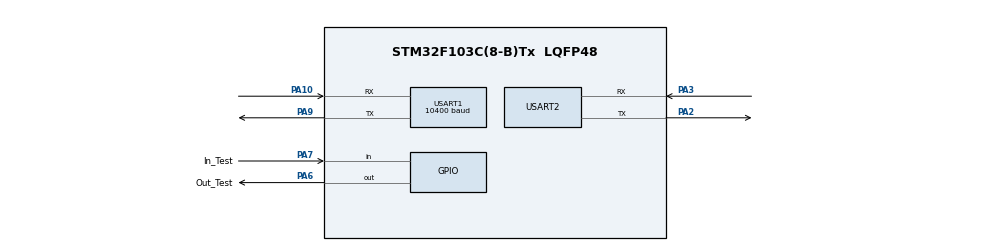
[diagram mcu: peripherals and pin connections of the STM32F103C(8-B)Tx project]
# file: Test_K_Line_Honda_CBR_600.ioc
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Mcu.Family=STM32F1
Mcu.Name=STM32F103C(8-B)Tx
Mcu.Package=LQFP48
NVIC.PriorityGroup=NVIC_PRIORITYGROUP_4
NVIC.USART2_IRQn=true\:0\:0\:false\:false\:true\:true\:true\:true
PA10.Mode=Asynchronous
PA10.Signal=USART1_RX
PA13.Mode=Serial_Wire
PA13.Signal=SYS_JTMS-SWDIO
PA14.Mode=Serial_Wire
PA14.Signal=SYS_JTCK-SWCLK
PA2.Mode=Asynchronous
PA2.Signal=USART2_TX
PA3.Mode=Asynchronous
PA3.Signal=USART2_RX
PA6.GPIO_Label=Out_Test
PA6.Signal=GPIO_Output
PA7.GPIO_Label=In_Test
PA7.Signal=GPIO_Input
PA9.Mode=Asynchronous
PA9.Signal=USART1_TX
PD0-OSC_IN.Mode=HSE-External-Oscillator
PD0-OSC_IN.Signal=RCC_OSC_IN
PD1-OSC_OUT.Mode=HSE-External-Oscillator
PD1-OSC_OUT.Signal=RCC_OSC_OUT
ProjectManager.HeapSize=0x200
ProjectManager.StackSize=0x400
ProjectManager.TargetToolchain=STM32CubeIDE
RCC.AHBFreq_Value=72000000
RCC.APB1CLKDivider=RCC_HCLK_DIV2
RCC.APB1Freq_Value=36000000
RCC.APB1TimFreq_Value=72000000
RCC.APB2Freq_Value=72000000
RCC.APB2TimFreq_Value=72000000
RCC.HCLKFreq_Value=72000000
RCC.PLLMUL=RCC_PLL_MUL9
RCC.PLLSourceVirtual=RCC_PLLSOURCE_HSE
RCC.SYSCLKFreq_VALUE=72000000
RCC.SYSCLKSource=RCC_SYSCLKSOURCE_PLLCLK
RCC.USBFreq_Value=72000000
USART1.BaudRate=10400
USART1.VirtualMode=VM_ASYNC
USART2.VirtualMode=VM_ASYNC
board=custom

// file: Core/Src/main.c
/* USER CODE BEGIN Header */
/**
  ******************************************************************************
  * @file           : main.c
  * @brief          : Main program body
  ******************************************************************************
  * @attention
  *
  * Copyright (c) 2026 STMicroelectronics.
  * All rights reserved.
  *
  * This software is licensed under terms that can be found in the LICENSE file
  * in the root directory of this software component.
  * If no LICENSE file comes with this software, it is provided AS-IS.
  *
  ******************************************************************************
  */
/* USER CODE END Header */
#include "main.h"

/* USER CODE BEGIN Includes */
#include "UART_header.h"
/* USER CODE END Includes */

/* USER CODE BEGIN PV */
volatile uint8_t usr_req = 0; //1: gear status, 2: sensor data
volatile uint32_t timeout_counter = 0;
/* USER CODE END PV */

void SystemClock_Config(void);
static void MX_GPIO_Init(void);
static void MX_USART1_UART_Init(void);
static void MX_USART2_UART_Init(void);

/* USER CODE BEGIN 0 */

#define USE_TIMEOUT
#define DEBUGING
#define DEBUGING_USART USART2

#define HDS_KLINE_STAT_RECIEVING		0
#define HDS_KLINE_STAT_SENDING 			1
#define HDS_KLINE_STAT_WORKING			2
#define HDS_KLINE_STAT_WAITING			3

//#define TRANSMIT_DISABLE_RX
#define TRANSMIT_DUMP_RX_DATA

uint8_t hds_kline_status = 0;

uint16_t hds_timeout_ms = 1;

#define HDS_KLINE_TIMEOUT_MS	2000

#define HDS_KLINE_COMMUNICATION_UART 	USART1

#define HDS_WAKE_UP_MSG_LENGTH 				4
#define HDS_INIT_MSG_LENGTH					5
#define HDS_INIT_RESPONSE_MSG_LENGTH 		4
#define HDS_REQUEST_MSG_LENGTH 				5

//These needs to be tested
#define HDS_REQUEST_STATUS_GEAR_TABLE			0xD1
#define HDS_REQUEST_STATUS_GEAR_CHECKSUM 		0x47

#define HDS_REQUEST_STATUS_GEAR_GEAR_STATUS		4
#define HDS_REQUEST_STATUS_GEAR_ENGINE_STATUS	8

#define HDS_REQUEST_SENSOR_DATA_TABLE			0x10
#define HDS_REQUEST_SENSOR_DATA_CHECKSUM 		0x08

#define HDS_REQUEST_SENSOR_DATA_RPM_HIGH		4
#define HDS_REQUEST_SENSOR_DATA_RPM_LOW			5
#define HDS_REQUEST_SENSOR_DATA_TPS_VOLTAGE		6
#define HDS_REQUEST_SENSOR_DATA_TPS_PERCENTAGE	7
#define HDS_REQUEST_SENSOR_DATA_ECT_VOLTAGE		8
#define HDS_REQUEST_SENSOR_DATA_ECT_DEGC		9
#define HDS_REQUEST_SENSOR_DATA_IAT_VOLTAGE		10
#define HDS_REQUEST_SENSOR_DATA_IAT_DEGC		11
#define HDS_REQUEST_SENSOR_DATA_MAP_VOLTAGE		12
#define HDS_REQUEST_SENSOR_DATA_MAP_KPA			13
#define HDS_REQUEST_SENSOR_DATA_BATTERY_VOLTAGE	16
#define HDS_REQUEST_SENSOR_DATA_SPEED_KM_H		17

#define HDS_BUFFER_MAX_SIZE		25

uint8_t hds_wake_up_msg[HDS_WAKE_UP_MSG_LENGTH] = { 0xFE, 0x04, 0xFF, 0xFF};
uint8_t hds_init_msg[HDS_INIT_MSG_LENGTH] = {0x72, 0x05, 0x00, 0xF0, 0x99};
uint8_t	hds_init_response_msg[HDS_INIT_RESPONSE_MSG_LENGTH] = {0x02, 0x04, 0x00, 0xFA};
uint8_t hds_request_msg[HDS_REQUEST_MSG_LENGTH] = {0x72, 0x05, 0x71, 0x10, 0x47};

uint8_t hds_buffer[HDS_BUFFER_MAX_SIZE]= {};

void HDS_KLine_init()
{
	uint8_t hds_msg_counter = 0;

#ifdef TRANSMIT_DISABLE_RX
	LL_USART_DisableDirectionRx(HDS_KLINE_COMMUNICATION_UART);
#endif
	LL_USART_Disable(HDS_KLINE_COMMUNICATION_UART);
	LL_GPIO_SetPinMode(GPIOA, LL_GPIO_PIN_9, LL_GPIO_MODE_OUTPUT);

	LL_GPIO_ResetOutputPin(GPIOA, LL_GPIO_PIN_9);
	LL_mDelay(70);

	LL_GPIO_SetOutputPin(GPIOA, LL_GPIO_PIN_9);
	LL_mDelay(120);

	LL_GPIO_SetPinMode(GPIOA, LL_GPIO_PIN_9, LL_GPIO_MODE_ALTERNATE);
	LL_USART_Enable(HDS_KLINE_COMMUNICATION_UART);

	hds_msg_counter = 0;
	SET_BIT(hds_kline_status, HDS_KLINE_STAT_SENDING);
	while(hds_msg_counter != HDS_WAKE_UP_MSG_LENGTH)
	{
		while(!LL_USART_IsActiveFlag_TXE(HDS_KLINE_COMMUNICATION_UART))
		{}
		LL_USART_TransmitData8(HDS_KLINE_COMMUNICATION_UART, hds_wake_up_msg[hds_msg_counter]);
#ifdef TRANSMIT_DUMP_RX_DATA
		while(!LL_USART_IsActiveFlag_RXNE(HDS_KLINE_COMMUNICATION_UART)){}
		uint8_t dummy = LL_USART_ReceiveData8(HDS_KLINE_COMMUNICATION_UART);
#endif
		hds_msg_counter++;
	}
	CLEAR_BIT(hds_kline_status, HDS_KLINE_STAT_SENDING);

	LL_mDelay(200);

	hds_msg_counter = 0;
	SET_BIT(hds_kline_status, HDS_KLINE_STAT_SENDING);
	while(hds_msg_counter != HDS_INIT_MSG_LENGTH)
	{
		while(!LL_USART_IsActiveFlag_TXE(HDS_KLINE_COMMUNICATION_UART))
		{}
		LL_USART_TransmitData8(HDS_KLINE_COMMUNICATION_UART, hds_init_msg[hds_msg_counter]);
#ifdef TRANSMIT_DUMP_RX_DATA
		while(!LL_USART_IsActiveFlag_RXNE(HDS_KLINE_COMMUNICATION_UART)){}
		uint8_t dummy = LL_USART_ReceiveData8(HDS_KLINE_COMMUNICATION_UART);
#endif
		hds_msg_counter++;
	}
	CLEAR_BIT(hds_kline_status, HDS_KLINE_STAT_SENDING);

#ifdef DEBUGING
	UART_TransmitStr("Waiting for the ECU to respond\n", DEBUGING_USART);
#endif

#ifdef USE_TIMEOUT
	timeout_counter = HDS_KLINE_TIMEOUT_MS;
#endif

#ifdef TRANSMIT_DISABLE_RX
	LL_USART_EnableDirectionRx(HDS_KLINE_COMMUNICATION_UART);
#endif

	SET_BIT(hds_kline_status, HDS_KLINE_STAT_RECIEVING);
	hds_msg_counter = 0;
	while(hds_msg_counter != HDS_INIT_RESPONSE_MSG_LENGTH)
	{
		while(!LL_USART_IsActiveFlag_RXNE(HDS_KLINE_COMMUNICATION_UART))
		{
#ifdef USE_TIMEOUT
			if(timeout_counter == 0)
			{
				return;
			}
#endif
		}

		hds_buffer[hds_msg_counter] = LL_USART_ReceiveData8(HDS_KLINE_COMMUNICATION_UART);
		LL_USART_TransmitData8(DEBUGING_USART, hds_buffer[hds_msg_counter]);
		hds_msg_counter++;
	}

	if((hds_buffer[0] == hds_init_response_msg[0])
	&& (hds_buffer[1] == hds_init_response_msg[1])
	&& (hds_buffer[2] == hds_init_response_msg[2])
	&& (hds_buffer[3] == hds_init_response_msg[3]))
	{
		UART_TransmitStr("connected", DEBUGING_USART);
				  UART_TransmitNewLine(DEBUGING_USART);

		SET_BIT(hds_kline_status, HDS_KLINE_STAT_WORKING);
	}
}

void HDS_KLine_request(uint8_t hds_table_ID, uint8_t hds_msg_checksum)
{
	uint8_t hds_msg_counter = 0;

	//set the table to be requested
	hds_request_msg[3] = hds_table_ID;
	//set the checksum of the message(for now it is constant
	//but can be made to be calculated later)
	hds_request_msg[4] = hds_msg_checksum;

#ifdef TRANSMIT_DISABLE_RX
	LL_USART_DisableDirectionRx(HDS_KLINE_COMMUNICATION_UART);
#endif

	hds_msg_counter = 0;
	SET_BIT(hds_kline_status, HDS_KLINE_STAT_SENDING);
	while(hds_msg_counter != HDS_REQUEST_MSG_LENGTH)
	{
		while(!LL_USART_IsActiveFlag_TXE(HDS_KLINE_COMMUNICATION_UART))
		{}
		LL_USART_TransmitData8(HDS_KLINE_COMMUNICATION_UART, hds_request_msg[hds_msg_counter]);
#ifdef TRANSMIT_DUMP_RX_DATA
		while(!LL_USART_IsActiveFlag_RXNE(HDS_KLINE_COMMUNICATION_UART)){}
		uint8_t dummy = LL_USART_ReceiveData8(HDS_KLINE_COMMUNICATION_UART);
#endif
		hds_msg_counter++;
	}
	CLEAR_BIT(hds_kline_status, HDS_KLINE_STAT_SENDING);

#ifdef TRANSMIT_DISABLE_RX
	LL_USART_EnableDirectionRx(HDS_KLINE_COMMUNICATION_UART);
#endif	LL_USART_ReceiveData8(HDS_KLINE_COMMUNICATION_UART);

	SET_BIT(hds_kline_status, HDS_KLINE_STAT_WAITING);

}

void HDS_KLine_recieve()
{

	uint8_t hds_msg_counter = 0;
	uint8_t hds_msg_length = 2; //just an initial value and will be replaced by the message length later

#ifdef DEBUGING
	UART_TransmitStr("Waiting for the ECU to respond to request\n", DEBUGING_USART);
#endif

#ifdef USE_TIMEOUT
	timeout_counter = HDS_KLINE_TIMEOUT_MS;
#endif

	SET_BIT(hds_kline_status, HDS_KLINE_STAT_RECIEVING);
	hds_msg_counter = 0;
	while(hds_msg_counter != hds_msg_length)
	{
		while(!LL_USART_IsActiveFlag_RXNE(HDS_KLINE_COMMUNICATION_UART))
		{
#ifdef USE_TIMEOUT
			if(timeout_counter == 0)
			{
				return;
			}

#endif
		}

		hds_buffer[hds_msg_counter] = LL_USART_ReceiveData8(HDS_KLINE_COMMUNICATION_UART);

		hds_msg_counter++;
		if(hds_msg_counter == 2)
		{
			hds_msg_length = hds_buffer[1];
			if(hds_msg_length > HDS_BUFFER_MAX_SIZE)
			{
				hds_msg_length = HDS_BUFFER_MAX_SIZE;
			}
		}
	}

	CLEAR_BIT(hds_kline_status, HDS_KLINE_STAT_WAITING);

	//printing logic to the debugging uart here

	UART_TransmitStr("HDS: message length: ", DEBUGING_USART);
	UART_TransmitNum(hds_msg_length, DEBUGING_USART);
	UART_TransmitNewLine(DEBUGING_USART);
	for(int i = 0; i < hds_msg_length; i++)
	{
		UART_TransmitStr("HDS: byte no: ", DEBUGING_USART);
		UART_TransmitNum(i, DEBUGING_USART);
		UART_TransmitStr(", value: ", DEBUGING_USART);
		UART_TransmitNum(hds_buffer[i], DEBUGING_USART);
		UART_TransmitNewLine(DEBUGING_USART);
	}

}

/* USER CODE END 0 */

int main(void)
{

  /* MCU Configuration--------------------------------------------------------*/

  /* Reset of all peripherals, Initializes the Flash interface and the Systick. */
  LL_APB2_GRP1_EnableClock(LL_APB2_GRP1_PERIPH_AFIO);
  LL_APB1_GRP1_EnableClock(LL_APB1_GRP1_PERIPH_PWR);

  /* System interrupt init*/
  NVIC_SetPriorityGrouping(NVIC_PRIORITYGROUP_4);

  /* SysTick_IRQn interrupt configuration */
  NVIC_SetPriority(SysTick_IRQn, NVIC_EncodePriority(NVIC_GetPriorityGrouping(),15, 0));

  /** NOJTAG: JTAG-DP Disabled and SW-DP Enabled
  */
  LL_GPIO_AF_Remap_SWJ_NOJTAG();

  /* Configure the system clock */
  SystemClock_Config();

  /* Initialize all configured peripherals */
  MX_GPIO_Init();
  MX_USART1_UART_Init();
  MX_USART2_UART_Init();
  /* USER CODE BEGIN 2 */
  LL_USART_EnableDirectionRx(HDS_KLINE_COMMUNICATION_UART);
  LL_USART_EnableDirectionTx(HDS_KLINE_COMMUNICATION_UART);
  LL_USART_Enable(HDS_KLINE_COMMUNICATION_UART);

  LL_USART_EnableDirectionRx(DEBUGING_USART);
  LL_USART_EnableDirectionTx(DEBUGING_USART);
  LL_USART_EnableIT_RXNE(DEBUGING_USART);
  LL_USART_Enable(DEBUGING_USART);

  /* USER CODE END 2 */

  /* Infinite loop */
  /* USER CODE BEGIN WHILE */
  while (1)
  {
	  if(!READ_BIT(hds_kline_status, HDS_KLINE_STAT_WORKING))
	  {
		  UART_TransmitNewLine(DEBUGING_USART);
		  UART_TransmitStr("Initializing the Kline", DEBUGING_USART);
		  UART_TransmitNewLine(DEBUGING_USART);
		  HDS_KLine_init();

	  }
	  else
	  {
		  switch(usr_req)
		  {
		  case '1':
			  UART_TransmitStr("requesting status gear table", DEBUGING_USART);
			  UART_TransmitNewLine(DEBUGING_USART);
			  HDS_KLine_request(HDS_REQUEST_STATUS_GEAR_TABLE, HDS_REQUEST_STATUS_GEAR_CHECKSUM);
			  HDS_KLine_recieve();
			  break;
		  case '2':
			  UART_TransmitStr("requesting sensor data table", DEBUGING_USART);
			  UART_TransmitNewLine(DEBUGING_USART);
			  HDS_KLine_request(HDS_REQUEST_SENSOR_DATA_TABLE, HDS_REQUEST_SENSOR_DATA_CHECKSUM);
			  HDS_KLine_recieve();
			  break;
		  default:
			  break;
		  }

		  usr_req = '0';
	  }

	  LL_mDelay(200);
    /* USER CODE END WHILE */

  }
}

void SystemClock_Config(void)
{
  LL_FLASH_SetLatency(LL_FLASH_LATENCY_2);
  while(LL_FLASH_GetLatency()!= LL_FLASH_LATENCY_2)
  {
  }
  LL_RCC_HSE_Enable();

   /* Wait till HSE is ready */
  while(LL_RCC_HSE_IsReady() != 1)
  {

  }
  LL_RCC_PLL_ConfigDomain_SYS(LL_RCC_PLLSOURCE_HSE_DIV_1, LL_RCC_PLL_MUL_9);
  LL_RCC_PLL_Enable();

   /* Wait till PLL is ready */
  while(LL_RCC_PLL_IsReady() != 1)
  {

  }
  LL_RCC_SetAHBPrescaler(LL_RCC_SYSCLK_DIV_1);
  LL_RCC_SetAPB1Prescaler(LL_RCC_APB1_DIV_2);
  LL_RCC_SetAPB2Prescaler(LL_RCC_APB2_DIV_1);
  LL_RCC_SetSysClkSource(LL_RCC_SYS_CLKSOURCE_PLL);

   /* Wait till System clock is ready */
  while(LL_RCC_GetSysClkSource() != LL_RCC_SYS_CLKSOURCE_STATUS_PLL)
  {

  }
  LL_Init1msTick(72000000);
  LL_SetSystemCoreClock(72000000);
}

static void MX_USART1_UART_Init(void)
{

  LL_USART_InitTypeDef USART_InitStruct = {0};

  LL_GPIO_InitTypeDef GPIO_InitStruct = {0};

  /* Peripheral clock enable */
  LL_APB2_GRP1_EnableClock(LL_APB2_GRP1_PERIPH_USART1);

  LL_APB2_GRP1_EnableClock(LL_APB2_GRP1_PERIPH_GPIOA);
  /**USART1 GPIO Configuration
  PA9   ------> USART1_TX
  PA10   ------> USART1_RX
  */
  GPIO_InitStruct.Pin = LL_GPIO_PIN_9;
  GPIO_InitStruct.Mode = LL_GPIO_MODE_ALTERNATE;
  GPIO_InitStruct.Speed = LL_GPIO_SPEED_FREQ_HIGH;
  GPIO_InitStruct.OutputType = LL_GPIO_OUTPUT_PUSHPULL;
  LL_GPIO_Init(GPIOA, &GPIO_InitStruct);

  GPIO_InitStruct.Pin = LL_GPIO_PIN_10;
  GPIO_InitStruct.Mode = LL_GPIO_MODE_FLOATING;
  LL_GPIO_Init(GPIOA, &GPIO_InitStruct);

  USART_InitStruct.BaudRate = 10400;
  USART_InitStruct.DataWidth = LL_USART_DATAWIDTH_8B;
  USART_InitStruct.StopBits = LL_USART_STOPBITS_1;
  USART_InitStruct.Parity = LL_USART_PARITY_NONE;
  USART_InitStruct.TransferDirection = LL_USART_DIRECTION_TX_RX;
  USART_InitStruct.HardwareFlowControl = LL_USART_HWCONTROL_NONE;
  USART_InitStruct.OverSampling = LL_USART_OVERSAMPLING_16;
  LL_USART_Init(USART1, &USART_InitStruct);
  LL_USART_ConfigAsyncMode(USART1);
  LL_USART_Enable(USART1);

}

static void MX_USART2_UART_Init(void)
{

  LL_USART_InitTypeDef USART_InitStruct = {0};

  LL_GPIO_InitTypeDef GPIO_InitStruct = {0};

  /* Peripheral clock enable */
  LL_APB1_GRP1_EnableClock(LL_APB1_GRP1_PERIPH_USART2);

  LL_APB2_GRP1_EnableClock(LL_APB2_GRP1_PERIPH_GPIOA);
  /**USART2 GPIO Configuration
  PA2   ------> USART2_TX
  PA3   ------> USART2_RX
  */
  GPIO_InitStruct.Pin = LL_GPIO_PIN_2;
  GPIO_InitStruct.Mode = LL_GPIO_MODE_ALTERNATE;
  GPIO_InitStruct.Speed = LL_GPIO_SPEED_FREQ_HIGH;
  GPIO_InitStruct.OutputType = LL_GPIO_OUTPUT_PUSHPULL;
  LL_GPIO_Init(GPIOA, &GPIO_InitStruct);

  GPIO_InitStruct.Pin = LL_GPIO_PIN_3;
  GPIO_InitStruct.Mode = LL_GPIO_MODE_FLOATING;
  LL_GPIO_Init(GPIOA, &GPIO_InitStruct);

  /* USART2 interrupt Init */
  NVIC_SetPriority(USART2_IRQn, NVIC_EncodePriority(NVIC_GetPriorityGrouping(),0, 0));
  NVIC_EnableIRQ(USART2_IRQn);

  USART_InitStruct.BaudRate = 115200;
  USART_InitStruct.DataWidth = LL_USART_DATAWIDTH_8B;
  USART_InitStruct.StopBits = LL_USART_STOPBITS_1;
  USART_InitStruct.Parity = LL_USART_PARITY_NONE;
  USART_InitStruct.TransferDirection = LL_USART_DIRECTION_TX_RX;
  USART_InitStruct.HardwareFlowControl = LL_USART_HWCONTROL_NONE;
  USART_InitStruct.OverSampling = LL_USART_OVERSAMPLING_16;
  LL_USART_Init(USART2, &USART_InitStruct);
  LL_USART_ConfigAsyncMode(USART2);
  LL_USART_Enable(USART2);

}

static void MX_GPIO_Init(void)
{
  LL_GPIO_InitTypeDef GPIO_InitStruct = {0};

  /* GPIO Ports Clock Enable */
  LL_APB2_GRP1_EnableClock(LL_APB2_GRP1_PERIPH_GPIOD);
  LL_APB2_GRP1_EnableClock(LL_APB2_GRP1_PERIPH_GPIOA);

  /**/
  LL_GPIO_ResetOutputPin(Out_Test_GPIO_Port, Out_Test_Pin);

  /**/
  GPIO_InitStruct.Pin = Out_Test_Pin;
  GPIO_InitStruct.Mode = LL_GPIO_MODE_OUTPUT;
  GPIO_InitStruct.Speed = LL_GPIO_SPEED_FREQ_LOW;
  GPIO_InitStruct.OutputType = LL_GPIO_OUTPUT_PUSHPULL;
  LL_GPIO_Init(Out_Test_GPIO_Port, &GPIO_InitStruct);

  /**/
  GPIO_InitStruct.Pin = In_Test_Pin;
  GPIO_InitStruct.Mode = LL_GPIO_MODE_FLOATING;
  LL_GPIO_Init(In_Test_GPIO_Port, &GPIO_InitStruct);

}

void Error_Handler(void)
{
  __disable_irq();
  while (1)
  {
  }
}
